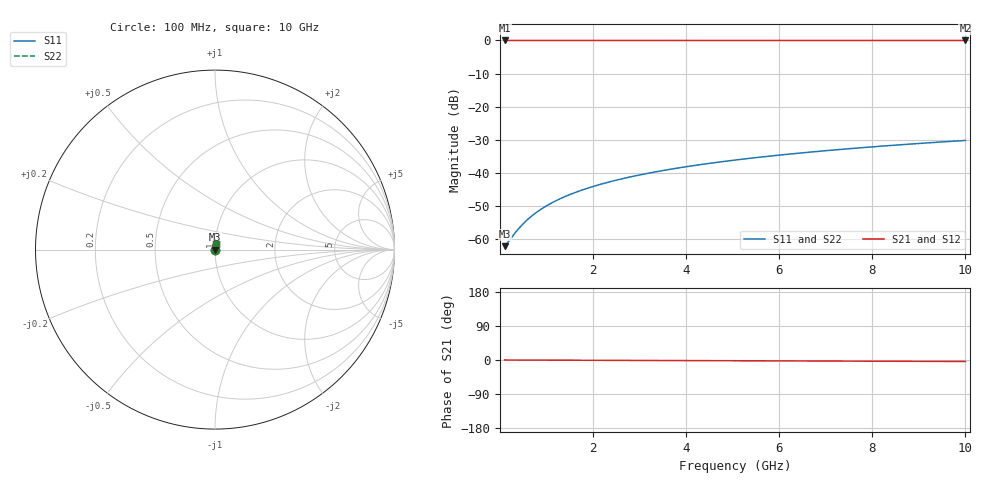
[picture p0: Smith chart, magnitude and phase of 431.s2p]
# Hz S RI R 50.00
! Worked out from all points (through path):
!   100 points, 100 MHz to 10 GHz, reference 50 ohm
!   highest |S21| = -0.01 dB at 100 MHz (marker M1); lowest = 0.0 dB at 10 GHz (marker M2)
!   lowest |S11| = -62.2 dB at 100 MHz (marker M3), VSWR 1.00, Z = 50.1 + j0.0307 ohm
!   |S11| at or under -10 dB: start of sweep to end of sweep
!   |S22| runs from -62.2 to -30.2 dB; largest |S21 - S12| = 0
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1e8  0.000712 0.000307  0.9993 -0.000685  0.9993 -0.000685  0.000712 0.000307
2e8  0.000718 0.000614  0.9993 -0.00137  0.9993 -0.00137  0.000718 0.000614
4e8  0.000726 0.00123  0.9993 -0.00274  0.9993 -0.00274  0.000726 0.00123
5e8  0.00073 0.00153  0.9993 -0.00342  0.9993 -0.00342  0.00073 0.00153
6e8  0.000735 0.00184  0.9993 -0.00411  0.9993 -0.00411  0.000735 0.00184
7e8  0.000739 0.00215  0.9993 -0.00479  0.9993 -0.00479  0.000739 0.00215
8e8  0.000744 0.00245  0.9992 -0.00548  0.9992 -0.00548  0.000744 0.00245
1e9  0.000754 0.00307  0.9992 -0.00685  0.9992 -0.00685  0.000754 0.00307
1.2e9  0.000766 0.00368  0.9992 -0.00822  0.9992 -0.00822  0.000766 0.00368
1.5e9  0.000787 0.0046  0.9992 -0.0103  0.9992 -0.0103  0.000787 0.0046
1.8e9  0.00081 0.00552  0.9992 -0.0123  0.9992 -0.0123  0.00081 0.00552
2.1e9  0.000838 0.00644  0.9991 -0.0144  0.9991 -0.0144  0.000838 0.00644
2.5e9  0.00088 0.00767  0.9991 -0.0171  0.9991 -0.0171  0.00088 0.00767
2.9e9  0.000928 0.0089  0.999 -0.0199  0.999 -0.0199  0.000928 0.0089
3.4e9  0.000998 0.0104  0.9989 -0.0233  0.9989 -0.0233  0.000998 0.0104
4.2e9  0.00113 0.0129  0.9987 -0.0288  0.9987 -0.0288  0.00113 0.0129
5.1e9  0.00131 0.0156  0.9985 -0.0349  0.9985 -0.0349  0.00131 0.0156
5.9e9  0.0015 0.0181  0.9982 -0.0404  0.9982 -0.0404  0.0015 0.0181
6.7e9  0.00172 0.0205  0.9979 -0.0459  0.9979 -0.0459  0.00172 0.0205
7.5e9  0.00196 0.023  0.9976 -0.0514  0.9976 -0.0514  0.00196 0.023
8.4e9  0.00227 0.0257  0.9972 -0.0576  0.9972 -0.0576  0.00227 0.0257
1e10  0.0029 0.0306  0.9963 -0.0685  0.9963 -0.0685  0.0029 0.0306
